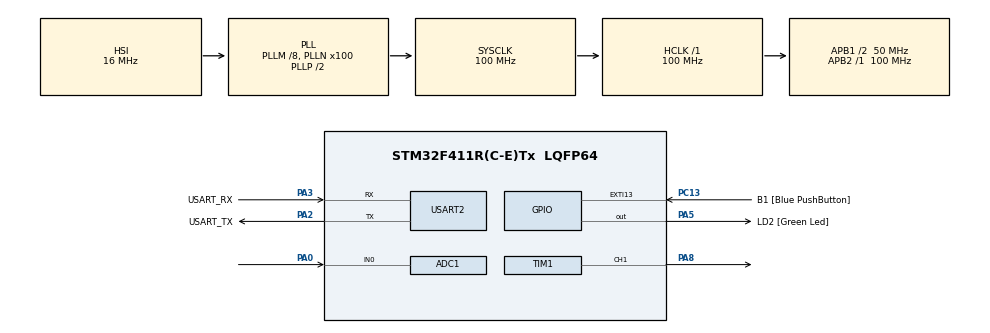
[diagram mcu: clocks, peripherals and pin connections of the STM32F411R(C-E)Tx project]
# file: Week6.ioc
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ADC1.Channel-0\#ChannelRegularConversion=ADC_CHANNEL_0
ADC1.ExternalTrigConv=ADC_EXTERNALTRIGCONV_T3_TRGO
ADC1.NbrOfConversionFlag=1
ADC1.Rank-0\#ChannelRegularConversion=1
ADC1.SamplingTime-0\#ChannelRegularConversion=ADC_SAMPLETIME_28CYCLES
ADC1.master=1
Mcu.Family=STM32F4
Mcu.Name=STM32F411R(C-E)Tx
Mcu.Package=LQFP64
NVIC.ADC_IRQn=true\:0\:0\:false\:false\:true\:true\:true
NVIC.PriorityGroup=NVIC_PRIORITYGROUP_0
NVIC.TIM1_TRG_COM_TIM11_IRQn=true\:0\:0\:false\:false\:true\:true\:true
PA0-WKUP.Signal=ADCx_IN0
PA13.GPIO_Label=TMS
PA13.Mode=Serial_Wire
PA13.Signal=SYS_JTMS-SWDIO
PA14.GPIO_Label=TCK
PA14.Mode=Serial_Wire
PA14.Signal=SYS_JTCK-SWCLK
PA2.GPIO_Label=USART_TX
PA2.Mode=Asynchronous
PA2.Signal=USART2_TX
PA3.GPIO_Label=USART_RX
PA3.Mode=Asynchronous
PA3.Signal=USART2_RX
PA5.GPIO_Label=LD2 [Green Led]
PA5.Signal=GPIO_Output
PA8.GPIO_ModeDefaultPP=GPIO_MODE_AF_PP
PA8.Signal=S_TIM1_CH1
PB3.GPIO_Label=SWO
PB3.Signal=SYS_JTDO-SWO
PC13-ANTI_TAMP.GPIO_Label=B1 [Blue PushButton]
PC13-ANTI_TAMP.GPIO_ModeDefaultEXTI=GPIO_MODE_IT_FALLING
PC13-ANTI_TAMP.Signal=GPXTI13
PC14-OSC32_IN.Mode=LSE-External-Oscillator
PC14-OSC32_IN.Signal=RCC_OSC32_IN
PC15-OSC32_OUT.Mode=LSE-External-Oscillator
PC15-OSC32_OUT.Signal=RCC_OSC32_OUT
PH0\ -\ OSC_IN.Mode=HSE-External-Clock-Source
PH0\ -\ OSC_IN.Signal=RCC_OSC_IN
PH1\ -\ OSC_OUT.Mode=HSE-External-Clock-Source
PH1\ -\ OSC_OUT.Signal=RCC_OSC_OUT
ProjectManager.HeapSize=0x200
ProjectManager.StackSize=0x400
ProjectManager.TargetToolchain=STM32CubeIDE
RCC.48MHZClocksFreq_Value=50000000
RCC.AHBFreq_Value=100000000
RCC.APB1CLKDivider=RCC_HCLK_DIV2
RCC.APB1Freq_Value=50000000
RCC.APB1TimFreq_Value=100000000
RCC.APB2Freq_Value=100000000
RCC.APB2TimFreq_Value=100000000
RCC.CortexFreq_Value=100000000
RCC.FLatency-AdvancedSettings=FLASH_LATENCY_3
RCC.HCLKFreq_Value=100000000
RCC.HSE_VALUE=8000000
RCC.HSI_VALUE=16000000
RCC.PLLM=8
RCC.PLLN=100
RCC.SYSCLKFreq_VALUE=100000000
RCC.SYSCLKSource=RCC_SYSCLKSOURCE_PLLCLK
RCC.VCOOutputFreq_Value=200000000
SH.ADCx_IN0.0=ADC1_IN0,IN0
SH.S_TIM1_CH1.0=TIM1_CH1,PWM Generation1 CH1
TIM1.AutoReloadPreload=TIM_AUTORELOAD_PRELOAD_ENABLE
TIM1.Channel-PWM\ Generation1\ CH1=TIM_CHANNEL_1
TIM1.Period=9999
TIM1.Prescaler=0
TIM11.Prescaler=99
TIM3.ClockDivision=TIM_CLOCKDIVISION_DIV1
TIM3.Period=999
TIM3.Prescaler=99
TIM3.TIM_MasterOutputTrigger=TIM_TRGO_UPDATE
USART2.VirtualMode=VM_ASYNC
VP_TIM11_VS_ClockSourceINT.Mode=Enable_Timer
VP_TIM1_VS_ClockSourceINT.Mode=Internal
VP_TIM3_VS_ClockSourceINT.Mode=Internal
board=NUCLEO-F411RE

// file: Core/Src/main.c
/* USER CODE BEGIN Header */
/**
 ******************************************************************************
 * @file           : main.c
 * @brief          : Main program body
 ******************************************************************************
 * @attention
 *
 * <h2><center>&copy; Copyright (c) 2021 STMicroelectronics.
 * All rights reserved.</center></h2>
 *
 * This software component is licensed by ST under BSD 3-Clause license,
 * the "License"; You may not use this file except in compliance with the
 * License. You may obtain a copy of the License at:
 *                        opensource.org/licenses/BSD-3-Clause
 *
 ******************************************************************************
 */
/* USER CODE END Header */
#include "main.h"

ADC_HandleTypeDef hadc1;

TIM_HandleTypeDef htim1;
TIM_HandleTypeDef htim3;
TIM_HandleTypeDef htim11;

UART_HandleTypeDef huart2;

/* USER CODE BEGIN PV */

uint8_t ADCUpdateFlag = 0;
//Store ADC Value
uint16_t ADCFeedBack = 0;

uint16_t PWMOut = 3000; //= 30% PWM

uint64_t _micro = 0;
uint64_t TimeOutputLoop = 0;
/* USER CODE END PV */

void SystemClock_Config(void);
static void MX_GPIO_Init(void);
static void MX_USART2_UART_Init(void);
static void MX_ADC1_Init(void);
static void MX_TIM1_Init(void);
static void MX_TIM11_Init(void);
static void MX_TIM3_Init(void);
/* USER CODE BEGIN PFP */
uint64_t micros();
/* USER CODE END PFP */

int main(void)
{

  /* MCU Configuration--------------------------------------------------------*/

  /* Reset of all peripherals, Initializes the Flash interface and the Systick. */
  HAL_Init();

  /* Configure the system clock */
  SystemClock_Config();

  /* Initialize all configured peripherals */
  MX_GPIO_Init();
  MX_USART2_UART_Init();
  MX_ADC1_Init();
  MX_TIM1_Init();
  MX_TIM11_Init();
  MX_TIM3_Init();
  /* USER CODE BEGIN 2 */
  //ADC and Timer That Call ADC
	HAL_ADC_Start_IT(&hadc1);
	HAL_TIM_Base_Start(&htim3);

	//timer and OC that generate PWM
	HAL_TIM_Base_Start(&htim1);
	HAL_TIM_PWM_Start(&htim1, TIM_CHANNEL_1);

	//Timer For implement micros()
	HAL_TIM_Base_Start_IT(&htim11);

  /* USER CODE END 2 */

  /* Infinite loop */
	while (1) {

    /* USER CODE BEGIN 3 */

		//2 Khz Loop
		if (micros() - TimeOutputLoop > 500) {
			TimeOutputLoop = micros();
			// #001
			//TODO Implement Control
			__HAL_TIM_SET_COMPARE(&htim1, TIM_CHANNEL_1, PWMOut);

		}

		if (ADCUpdateFlag) {

			ADCUpdateFlag = 0;
			//#002

		}

	}
  /* USER CODE END 3 */
}

void SystemClock_Config(void)
{
  RCC_OscInitTypeDef RCC_OscInitStruct = {0};
  RCC_ClkInitTypeDef RCC_ClkInitStruct = {0};

  /** Configure the main internal regulator output voltage
  */
  __HAL_RCC_PWR_CLK_ENABLE();
  __HAL_PWR_VOLTAGESCALING_CONFIG(PWR_REGULATOR_VOLTAGE_SCALE1);
  /** Initializes the RCC Oscillators according to the specified parameters
  * in the RCC_OscInitTypeDef structure.
  */
  RCC_OscInitStruct.OscillatorType = RCC_OSCILLATORTYPE_HSI;
  RCC_OscInitStruct.HSIState = RCC_HSI_ON;
  RCC_OscInitStruct.HSICalibrationValue = RCC_HSICALIBRATION_DEFAULT;
  RCC_OscInitStruct.PLL.PLLState = RCC_PLL_ON;
  RCC_OscInitStruct.PLL.PLLSource = RCC_PLLSOURCE_HSI;
  RCC_OscInitStruct.PLL.PLLM = 8;
  RCC_OscInitStruct.PLL.PLLN = 100;
  RCC_OscInitStruct.PLL.PLLP = RCC_PLLP_DIV2;
  RCC_OscInitStruct.PLL.PLLQ = 4;
  if (HAL_RCC_OscConfig(&RCC_OscInitStruct) != HAL_OK)
  {
    Error_Handler();
  }
  /** Initializes the CPU, AHB and APB buses clocks
  */
  RCC_ClkInitStruct.ClockType = RCC_CLOCKTYPE_HCLK|RCC_CLOCKTYPE_SYSCLK
                              |RCC_CLOCKTYPE_PCLK1|RCC_CLOCKTYPE_PCLK2;
  RCC_ClkInitStruct.SYSCLKSource = RCC_SYSCLKSOURCE_PLLCLK;
  RCC_ClkInitStruct.AHBCLKDivider = RCC_SYSCLK_DIV1;
  RCC_ClkInitStruct.APB1CLKDivider = RCC_HCLK_DIV2;
  RCC_ClkInitStruct.APB2CLKDivider = RCC_HCLK_DIV1;

  if (HAL_RCC_ClockConfig(&RCC_ClkInitStruct, FLASH_LATENCY_3) != HAL_OK)
  {
    Error_Handler();
  }
}

static void MX_ADC1_Init(void)
{

  ADC_ChannelConfTypeDef sConfig = {0};

  /** Configure the global features of the ADC (Clock, Resolution, Data Alignment and number of conversion)
  */
  hadc1.Instance = ADC1;
  hadc1.Init.ClockPrescaler = ADC_CLOCK_SYNC_PCLK_DIV4;
  hadc1.Init.Resolution = ADC_RESOLUTION_12B;
  hadc1.Init.ScanConvMode = DISABLE;
  hadc1.Init.ContinuousConvMode = DISABLE;
  hadc1.Init.DiscontinuousConvMode = DISABLE;
  hadc1.Init.ExternalTrigConvEdge = ADC_EXTERNALTRIGCONVEDGE_RISING;
  hadc1.Init.ExternalTrigConv = ADC_EXTERNALTRIGCONV_T3_TRGO;
  hadc1.Init.DataAlign = ADC_DATAALIGN_RIGHT;
  hadc1.Init.NbrOfConversion = 1;
  hadc1.Init.DMAContinuousRequests = DISABLE;
  hadc1.Init.EOCSelection = ADC_EOC_SINGLE_CONV;
  if (HAL_ADC_Init(&hadc1) != HAL_OK)
  {
    Error_Handler();
  }
  /** Configure for the selected ADC regular channel its corresponding rank in the sequencer and its sample time.
  */
  sConfig.Channel = ADC_CHANNEL_0;
  sConfig.Rank = 1;
  sConfig.SamplingTime = ADC_SAMPLETIME_28CYCLES;
  if (HAL_ADC_ConfigChannel(&hadc1, &sConfig) != HAL_OK)
  {
    Error_Handler();
  }

}

static void MX_TIM1_Init(void)
{

  TIM_ClockConfigTypeDef sClockSourceConfig = {0};
  TIM_MasterConfigTypeDef sMasterConfig = {0};
  TIM_OC_InitTypeDef sConfigOC = {0};
  TIM_BreakDeadTimeConfigTypeDef sBreakDeadTimeConfig = {0};

  htim1.Instance = TIM1;
  htim1.Init.Prescaler = 0;
  htim1.Init.CounterMode = TIM_COUNTERMODE_UP;
  htim1.Init.Period = 9999;
  htim1.Init.ClockDivision = TIM_CLOCKDIVISION_DIV1;
  htim1.Init.RepetitionCounter = 0;
  htim1.Init.AutoReloadPreload = TIM_AUTORELOAD_PRELOAD_ENABLE;
  if (HAL_TIM_Base_Init(&htim1) != HAL_OK)
  {
    Error_Handler();
  }
  sClockSourceConfig.ClockSource = TIM_CLOCKSOURCE_INTERNAL;
  if (HAL_TIM_ConfigClockSource(&htim1, &sClockSourceConfig) != HAL_OK)
  {
    Error_Handler();
  }
  if (HAL_TIM_PWM_Init(&htim1) != HAL_OK)
  {
    Error_Handler();
  }
  sMasterConfig.MasterOutputTrigger = TIM_TRGO_RESET;
  sMasterConfig.MasterSlaveMode = TIM_MASTERSLAVEMODE_DISABLE;
  if (HAL_TIMEx_MasterConfigSynchronization(&htim1, &sMasterConfig) != HAL_OK)
  {
    Error_Handler();
  }
  sConfigOC.OCMode = TIM_OCMODE_PWM1;
  sConfigOC.Pulse = 0;
  sConfigOC.OCPolarity = TIM_OCPOLARITY_HIGH;
  sConfigOC.OCNPolarity = TIM_OCNPOLARITY_HIGH;
  sConfigOC.OCFastMode = TIM_OCFAST_DISABLE;
  sConfigOC.OCIdleState = TIM_OCIDLESTATE_RESET;
  sConfigOC.OCNIdleState = TIM_OCNIDLESTATE_RESET;
  if (HAL_TIM_PWM_ConfigChannel(&htim1, &sConfigOC, TIM_CHANNEL_1) != HAL_OK)
  {
    Error_Handler();
  }
  sBreakDeadTimeConfig.OffStateRunMode = TIM_OSSR_DISABLE;
  sBreakDeadTimeConfig.OffStateIDLEMode = TIM_OSSI_DISABLE;
  sBreakDeadTimeConfig.LockLevel = TIM_LOCKLEVEL_OFF;
  sBreakDeadTimeConfig.DeadTime = 0;
  sBreakDeadTimeConfig.BreakState = TIM_BREAK_DISABLE;
  sBreakDeadTimeConfig.BreakPolarity = TIM_BREAKPOLARITY_HIGH;
  sBreakDeadTimeConfig.AutomaticOutput = TIM_AUTOMATICOUTPUT_DISABLE;
  if (HAL_TIMEx_ConfigBreakDeadTime(&htim1, &sBreakDeadTimeConfig) != HAL_OK)
  {
    Error_Handler();
  }
  HAL_TIM_MspPostInit(&htim1);

}

static void MX_TIM3_Init(void)
{

  TIM_ClockConfigTypeDef sClockSourceConfig = {0};
  TIM_MasterConfigTypeDef sMasterConfig = {0};

  htim3.Instance = TIM3;
  htim3.Init.Prescaler = 99;
  htim3.Init.CounterMode = TIM_COUNTERMODE_UP;
  htim3.Init.Period = 999;
  htim3.Init.ClockDivision = TIM_CLOCKDIVISION_DIV1;
  htim3.Init.AutoReloadPreload = TIM_AUTORELOAD_PRELOAD_DISABLE;
  if (HAL_TIM_Base_Init(&htim3) != HAL_OK)
  {
    Error_Handler();
  }
  sClockSourceConfig.ClockSource = TIM_CLOCKSOURCE_INTERNAL;
  if (HAL_TIM_ConfigClockSource(&htim3, &sClockSourceConfig) != HAL_OK)
  {
    Error_Handler();
  }
  sMasterConfig.MasterOutputTrigger = TIM_TRGO_UPDATE;
  sMasterConfig.MasterSlaveMode = TIM_MASTERSLAVEMODE_DISABLE;
  if (HAL_TIMEx_MasterConfigSynchronization(&htim3, &sMasterConfig) != HAL_OK)
  {
    Error_Handler();
  }

}

static void MX_TIM11_Init(void)
{

  htim11.Instance = TIM11;
  htim11.Init.Prescaler = 99;
  htim11.Init.CounterMode = TIM_COUNTERMODE_UP;
  htim11.Init.Period = 65535;
  htim11.Init.ClockDivision = TIM_CLOCKDIVISION_DIV1;
  htim11.Init.AutoReloadPreload = TIM_AUTORELOAD_PRELOAD_DISABLE;
  if (HAL_TIM_Base_Init(&htim11) != HAL_OK)
  {
    Error_Handler();
  }

}

static void MX_USART2_UART_Init(void)
{

  huart2.Instance = USART2;
  huart2.Init.BaudRate = 115200;
  huart2.Init.WordLength = UART_WORDLENGTH_8B;
  huart2.Init.StopBits = UART_STOPBITS_1;
  huart2.Init.Parity = UART_PARITY_NONE;
  huart2.Init.Mode = UART_MODE_TX_RX;
  huart2.Init.HwFlowCtl = UART_HWCONTROL_NONE;
  huart2.Init.OverSampling = UART_OVERSAMPLING_16;
  if (HAL_UART_Init(&huart2) != HAL_OK)
  {
    Error_Handler();
  }

}

static void MX_GPIO_Init(void)
{
  GPIO_InitTypeDef GPIO_InitStruct = {0};

  /* GPIO Ports Clock Enable */
  __HAL_RCC_GPIOC_CLK_ENABLE();
  __HAL_RCC_GPIOH_CLK_ENABLE();
  __HAL_RCC_GPIOA_CLK_ENABLE();
  __HAL_RCC_GPIOB_CLK_ENABLE();

  /*Configure GPIO pin Output Level */
  HAL_GPIO_WritePin(LD2_GPIO_Port, LD2_Pin, GPIO_PIN_RESET);

  /*Configure GPIO pin : B1_Pin */
  GPIO_InitStruct.Pin = B1_Pin;
  GPIO_InitStruct.Mode = GPIO_MODE_IT_FALLING;
  GPIO_InitStruct.Pull = GPIO_NOPULL;
  HAL_GPIO_Init(B1_GPIO_Port, &GPIO_InitStruct);

  /*Configure GPIO pin : LD2_Pin */
  GPIO_InitStruct.Pin = LD2_Pin;
  GPIO_InitStruct.Mode = GPIO_MODE_OUTPUT_PP;
  GPIO_InitStruct.Pull = GPIO_NOPULL;
  GPIO_InitStruct.Speed = GPIO_SPEED_FREQ_LOW;
  HAL_GPIO_Init(LD2_GPIO_Port, &GPIO_InitStruct);

}

/* USER CODE BEGIN 4 */

void HAL_ADC_ConvCpltCallback(ADC_HandleTypeDef *hadc)
{
	ADCFeedBack = HAL_ADC_GetValue(&hadc1);
	ADCUpdateFlag = 1;
}

void HAL_TIM_PeriodElapsedCallback(TIM_HandleTypeDef *htim) {
	if (htim == &htim11) {
		_micro += 65535;
	}
}

uint64_t micros() {
	return _micro + htim11.Instance->CNT;
}
/* USER CODE END 4 */

void Error_Handler(void)
{
	__disable_irq();
	while (1)
	{
	}
}
